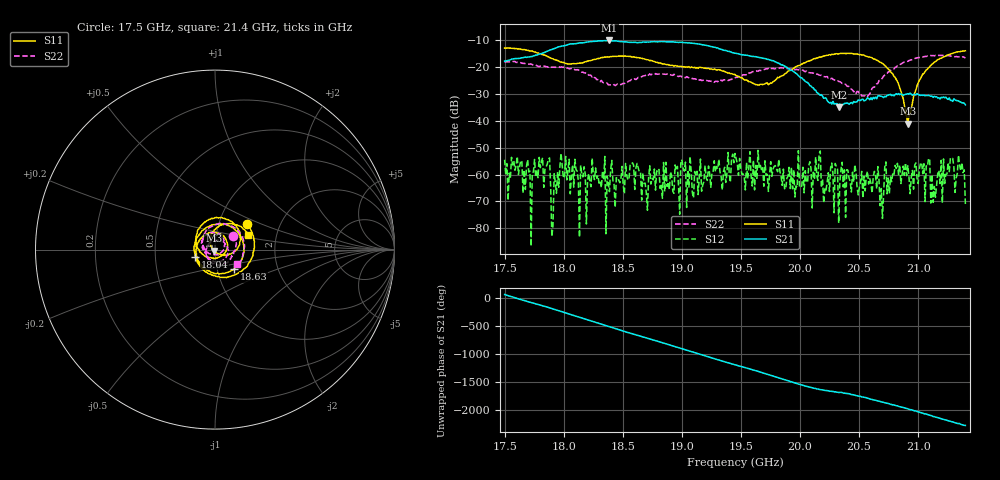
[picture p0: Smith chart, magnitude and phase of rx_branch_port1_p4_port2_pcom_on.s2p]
!Created with skrf (http://scikit-rf.org).
# GHz S RI R 50.0
!freq ReS11 ImS11 ReS21 ImS21 ReS12 ImS12 ReS22 ImS22
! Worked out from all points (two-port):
!   401 points, 17.5 GHz to 21.4 GHz, reference 50 ohm
!   highest |S21| = -9.99 dB at 18.39 GHz (marker M1); lowest = -34.8 dB at 20.33 GHz (marker M2)
!   |S21| within 3 dB of the highest: 17.92 GHz to 19.31 GHz (1.389 GHz wide, 7.46 % of centre)
!   lowest |S11| = -41.0 dB at 20.91 GHz (marker M3), VSWR 1.02, Z = 49.3 - j0.585 ohm
!   |S11| at or under -10 dB: start of sweep to end of sweep
!   |S22| runs from -31.2 to -15.5 dB; largest |S21 - S12| = 0.32
!   S11 on the Smith chart (normalised r, x): 17.5 GHz: 1.36, +0.41; 18.04 GHz: 0.80, -0.06; 18.63 GHz: 1.20, -0.27; 21.4 GHz: 1.43, +0.25
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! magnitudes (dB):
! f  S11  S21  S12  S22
! 17.5 GHz  -12.9  -17.7  -54.4  -17.9
! 17.72 GHz  -13.9  -16.0  -86.7  -18.8
! 17.86 GHz  -15.9  -14.0  -56.1  -19.8
! 17.92 GHz  -17.1  -13.0  -59.7  -20.0
! 17.97 GHz  -18.0  -12.3  -56.9  -20.0
! 18.04 GHz  -18.7  -11.5  -58.4  -20.3
! 18.15 GHz  -18.4  -10.8  -59.9  -21.9
! 18.39 GHz  -16.1  -10.0  -66.3  -26.5
! 18.63 GHz  -16.4  -10.8  -57.5  -23.7
! 18.7 GHz  -17.1  -10.6  -66.8  -22.9
! 18.81 GHz  -18.4  -10.4  -58.1  -22.5
! 19.45 GHz  -22.7  -14.8  -52.1  -23.9
! 20.1 GHz  -17.2  -27.5  -72.5  -22.2
! 20.33 GHz  -15.0  -34.8  -78.1  -25.3
! 20.56 GHz  -15.9  -32.0  -60.4  -31.2
! 20.76 GHz  -21.1  -30.3  -67.0  -21.7
! 20.91 GHz  -41.0  -29.8  -56.7  -17.8
! 21.09 GHz  -20.2  -30.5  -54.2  -15.8
! 21.13 GHz  -18.5  -31.2  -70.3  -15.6
! 21.27 GHz  -15.1  -32.3  -53.8  -15.8
! 21.36 GHz  -14.0  -33.0  -58.6  -16.1
! 21.4 GHz  -13.8  -34.0  -71.1  -16.5
